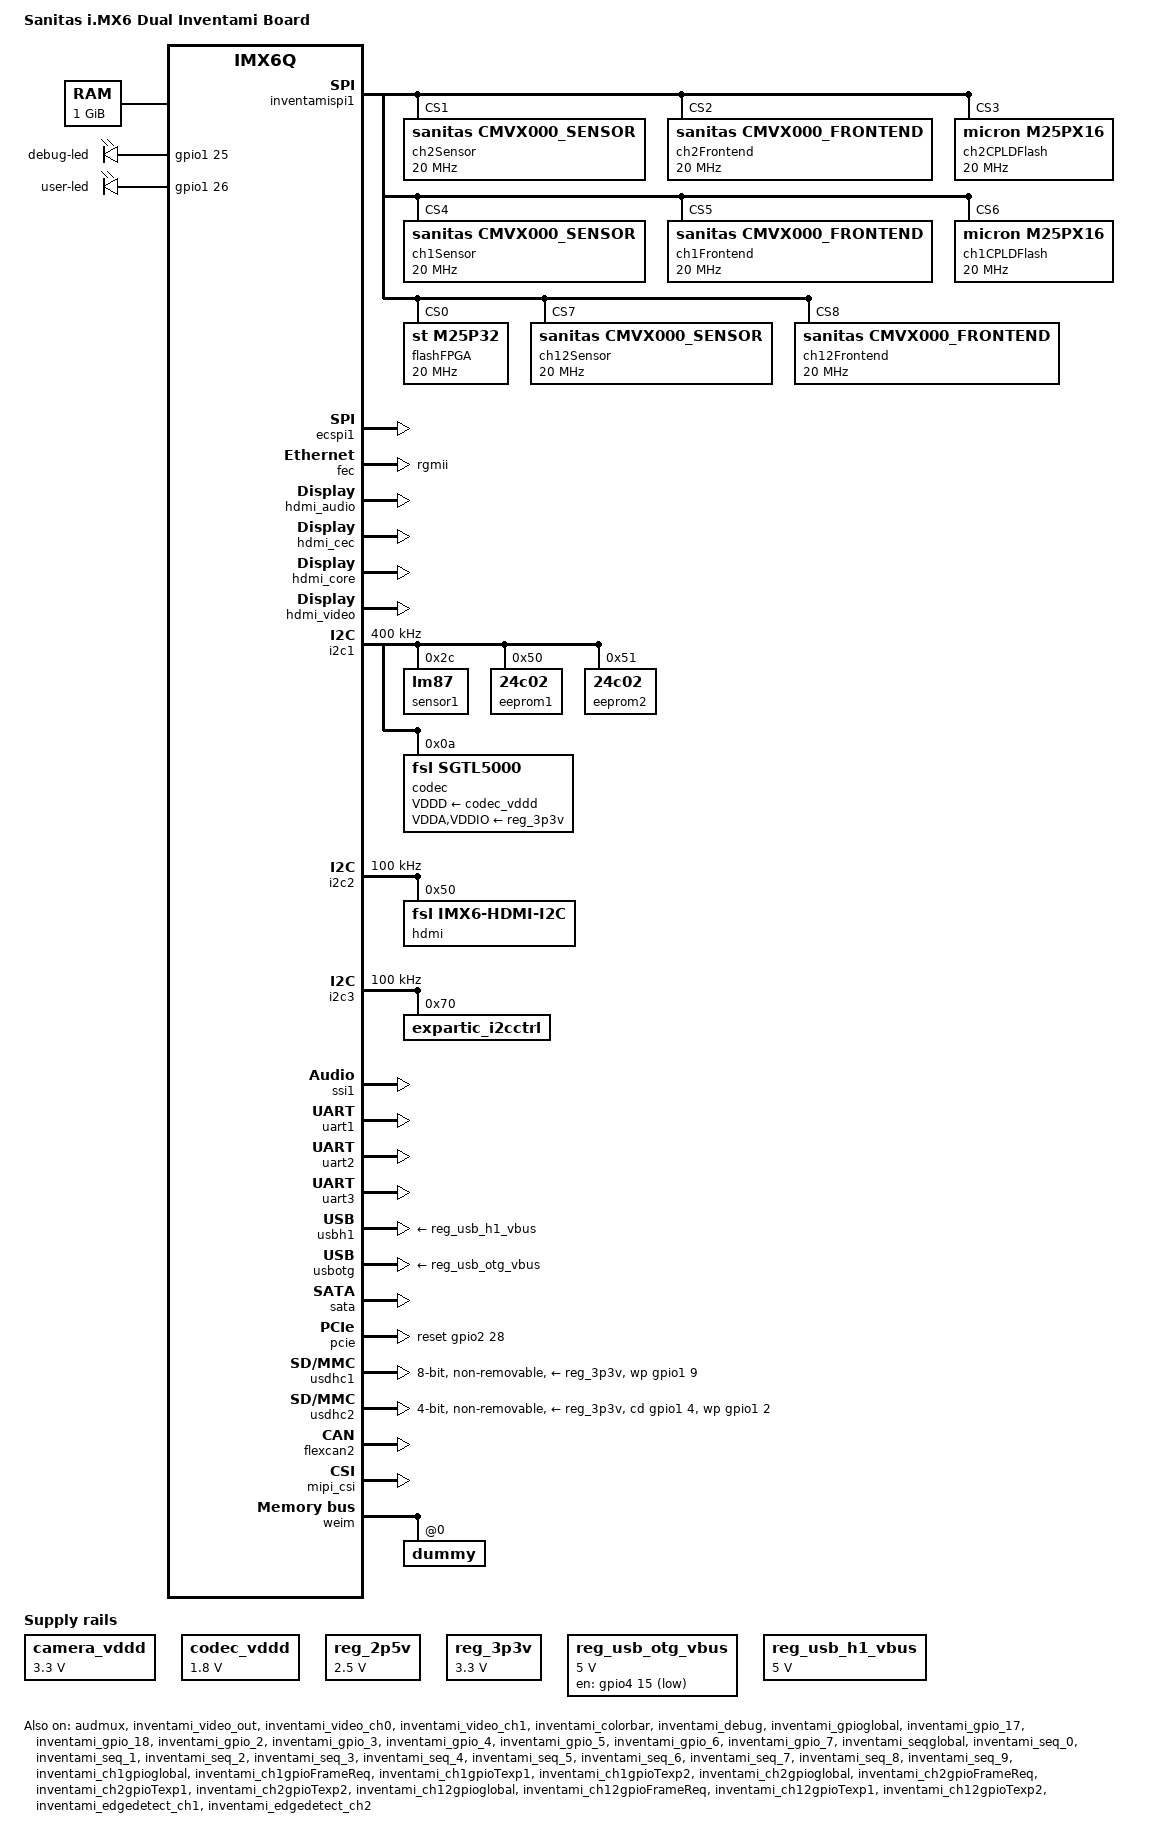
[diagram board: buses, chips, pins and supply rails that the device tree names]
/*
 * Copyright 2014-2015 Sanitas EG
 *
 * The code contained herein is licensed under the GNU General Public
 * License. You may obtain a copy of the GNU General Public License
 * Version 2 or later at the following locations:
 *
 * http://www.opensource.org/licenses/gpl-license.html
 * http://www.gnu.org/copyleft/gpl.html
 */

/* NAND_ALE = SD1_RST */

/* Missing configurations:
 - PMIC
 - PWM
*/

/dts-v1/;
#include "imx6d.dtsi"
#include "imx6qdl-inventami.dtsi"

/ {
	model = "Sanitas i.MX6 Dual Inventami Board";
	compatible = "sanitas,imx6d-inventami-emmc", "fsl,imx6q";

	aliases {
		mxcfb0 = &mxcfb1;
		mxcfb1 = &mxcfb2;
	};

	memory {
		reg = <0x10000000 0x40000000>;
	};

	regulators {
		compatible = "simple-bus";

		camera_vddd: camera_3p3v	{
			compatible = "regulator-fixed";
			regulator-name = "camera_3P3V";
			regulator-min-microvolt = <3300000>;
			regulator-max-microvolt = <3300000>;
			regulator-always-on;
		};

		codec_vddd: codec_1p8v {
			compatible = "regulator-fixed";
			regulator-name = "codec_1P8V";
			regulator-min-microvolt = <1800000>;
			regulator-max-microvolt = <1800000>;
			regulator-always-on;
		};

		reg_2p5v: 2p5v {
			compatible = "regulator-fixed";
			regulator-name = "2P5V";
			regulator-min-microvolt = <2500000>;
			regulator-max-microvolt = <2500000>;
			regulator-always-on;
		};

		reg_3p3v: 3p3v {
			compatible = "regulator-fixed";
			regulator-name = "3P3V";
			regulator-min-microvolt = <3300000>;
			regulator-max-microvolt = <3300000>;
			regulator-always-on;
		};

		reg_usb_otg_vbus: usb_otg_vbus {
			compatible = "regulator-fixed";
			regulator-name = "usb_otg_vbus";
			regulator-min-microvolt = <5000000>;
			regulator-max-microvolt = <5000000>;
			gpio = <&gpio4 15 0>; /* KEY_ROW4 */
			enable-active-low; /* LM3526 !EN*/
		};
		
		reg_usb_h1_vbus: usb_h1_vbus {
			compatible = "regulator-fixed";
			regulator-name = "usb_h1_vbus";
			regulator-min-microvolt = <5000000>;
			regulator-max-microvolt = <5000000>;
		};
	};

	leds {
		compatible = "gpio-leds";

		debug-led {
			gpios = <&gpio1 25 0>;
			linux,default-trigger = "heartbeat";
		};

		user-led {
			gpios = <&gpio1 26 0>;
			linux,default-trigger = "oneshot";
		};
	};

	sound {
		compatible = "fsl,imx6d-inventami-sgtl5000", "fsl,imx-audio-sgtl5000";
		model = "imx6d-inventami-sgtl5000";
		ssi-controller = <&ssi1>;
		audio-codec = <&codec>;
		audio-routing =
			"MIC_IN", "Mic Jack",
			"Mic Jack", "Mic Bias",
			"Headphone Jack", "HP_OUT",
			"LINE_IN", "Line In Jack",
			"Line Out Jack", "LINE_OUT"; /* Figure out if it's really needed... */
		mux-int-port = <1>;
		mux-ext-port = <6>;
	};
		
	sound-hdmi {
		compatible = "fsl,imx6q-audio-hdmi", "fsl,imx-audio-hdmi";
		model = "imx-audio-hdmi";
		hdmi-controller = <&hdmi_audio>;
	};
	
/*	mxcfb1: fb@0 {
		compatible = "fsl,mxc_sdc_fb";
		disp_dev = "hdmi";
		interface_pix_fmt = "RGB24";
		mode_str ="1920x1080M@60";
		default_bpp = <24>;
		int_clk = <0>;
		late_init = <0>;
		status = "okay";
	};
*/
	mxcfb1: fb@0 {
		compatible = "fsl,mxc_sdc_fb";
		disp_dev = "hdmi";
		interface_pix_fmt = "RGB24";
		mode_str ="1280X720M@60";
		default_bpp = <24>;
		int_clk = <0>;
		late_init = <0>;
		status = "okay";
	};

	mxcfb2: fb@1 {
		compatible = "fsl,mxc_sdc_fb";
		disp_dev = "ldb";
		interface_pix_fmt = "RGB666";
		mode_str ="LDB-XGA";
		default_bpp = <16>;
		int_clk = <0>;
		late_init = <0>;
		status = "disabled";
	};

	v4l2_cap_0 {
		compatible = "fsl,imx6q-v4l2-capture";
		ipu_id = <0>;
		csi_id = <0>;
		mclk_source = <0>;
		status = "okay";
	};

    sanitas_mxc_v4l2_csi_camera0: sanitas_mxc_v4l2_csi@0 {
        compatible = "sanitas,sanitas_mxc_v4l2_csi";
        csi_id = <0>;
    };

	v4l2_cap_1 {
		compatible = "fsl,imx6q-v4l2-capture";
		ipu_id = <0>;
		csi_id = <1>;
		mclk_source = <0>;
		status = "okay";
	};

    sanitas_mxc_v4l2_mipi_camera0: sanitas_mxc_v4l2_mipi@1 {
        compatible = "sanitas,sanitas_mxc_v4l2_mipi";
        csi_id = <1>;
    };

    inventami_video_out: inventami_video_out@0x08000400  {
        compatible = "sanitas,inventami-video-out";
        reg = <0x08000400 0x100>;
        status = "okay";
    };

    inventami_video_ch0: inventami_video_ch@0x08000500  {
        compatible = "sanitas,inventami-video-ch";
        reg = <0x08000500 0x200>;
        status = "okay";
    };
    
    inventami_video_ch1: inventami_video_ch@0x08000700  {
        compatible = "sanitas,inventami-video-ch";
        reg = <0x08000700 0x200>;
        status = "okay";
    };

    inventami_colorbar: inventami_colorbar@0x08000900 {
        compatible = "sanitas,inventami-colorbar";
        reg = <0x08000900 0x100>;
        status = "okay";
    };
    
    inventami_debug: inventami_debug@0x08000200 {
    compatible = "sanitas,inventami-debug";
    reg = <0x08000200 0x100>;
    status = "okay";     
    };
    
    inventami_gpioglobal: inventami_gpioglobal@0x09200000 {
    compatible = "sanitas,inventami-gpioglobal";
    reg = <0x09200000 0x10>;
    status = "okay";     
    };

    inventami_gpio_17: inventami_gpio@0x09200010 {
    compatible = "sanitas,inventami-gpio";
    reg = <0x09200010 0x10>;
    status = "okay";     
    };   
    
    inventami_gpio_18: inventami_gpio@0x09200020 {
    compatible = "sanitas,inventami-gpio";
    reg = <0x09200020 0x10>;
    status = "okay";     
    }; 
    
    inventami_gpio_2: inventami_gpio@0x09200030 {
    compatible = "sanitas,inventami-gpio";
    reg = <0x09200030 0x10>;
    status = "okay";     
    };   
    
    inventami_gpio_3: inventami_gpio@0x09200040 {
    compatible = "sanitas,inventami-gpio";
    reg = <0x09200040 0x10>;
    status = "okay";     
    }; 
    
    inventami_gpio_4: inventami_gpio@0x09200050 {
    compatible = "sanitas,inventami-gpio";
    reg = <0x09200050 0x10>;
    status = "okay";     
    };   
    
    inventami_gpio_5: inventami_gpio@0x09200060 {
    compatible = "sanitas,inventami-gpio";
    reg = <0x09200060 0x10>;
    status = "okay";     
    }; 
    
    inventami_gpio_6: inventami_gpio@0x09200070 {
    compatible = "sanitas,inventami-gpio";
    reg = <0x09200070 0x10>;
    status = "okay";     
    };   
    
    inventami_gpio_7: inventami_gpio@0x09200080 {
    compatible = "sanitas,inventami-gpio";
    reg = <0x09200080 0x10>;
    status = "okay";     
    };


/*SEQUENCER*/
    inventami_seqglobal: inventami_seqglobal@0x09500000 {
    compatible = "sanitas,inventami-seqglobal";
    reg = <0x09500000 0x10>;
    status = "okay";     
    };

    inventami_seq_0: inventami_seq@0x09500020 {
    compatible = "sanitas,inventami-seq";
    reg = <0x09500020 0x20>;
    status = "okay";     
    };
    
    inventami_seq_1: inventami_seq@0x09500040 {
    compatible = "sanitas,inventami-seq";
    reg = <0x09500040 0x20>;
    status = "okay";     
    };
    
    inventami_seq_2: inventami_seq@0x09500060 {
    compatible = "sanitas,inventami-seq";
    reg = <0x09500060 0x20>;
    status = "okay";     
    };
        
    inventami_seq_3: inventami_seq@0x09500080 {
    compatible = "sanitas,inventami-seq";
    reg = <0x09500080 0x20>;
    status = "okay";     
    };

	inventami_seq_4: inventami_seq@0x095000A0 {
    compatible = "sanitas,inventami-seq";
    reg = <0x095000A0 0x20>;
    status = "okay";     
    };
    
    inventami_seq_5: inventami_seq@0x095000C0 {
    compatible = "sanitas,inventami-seq";
    reg = <0x095000C0 0x20>;
    status = "okay";     
    };

	inventami_seq_6: inventami_seq@0x095000E0 {
    compatible = "sanitas,inventami-seq";
    reg = <0x095000E0 0x20>;
    status = "okay";     
    };

	inventami_seq_7: inventami_seq@0x09500100 {
    compatible = "sanitas,inventami-seq";
    reg = <0x09500100 0x20>;
    status = "okay";     
    };

	inventami_seq_8: inventami_seq@0x09500120 {
    compatible = "sanitas,inventami-seq";
    reg = <0x09500120 0x20>;
    status = "okay";     
    };
    
    
    inventami_seq_9: inventami_seq@0x09500140 {
    compatible = "sanitas,inventami-seq";
    reg = <0x09500140 0x20>;
    status = "okay";     
    };

    /************ SENSOR GPIO X SEQUENCER *********************/
    /*CH1*/
    inventami_ch1gpioglobal: inventami_gpioglobal@0x09411000 {
    compatible = "sanitas,inventami-gpioglobal";
    reg = <0x09411000 0x10>;
    status = "okay";     
    };

    inventami_ch1gpioFrameReq: inventami_gpio@0x09411010 {
    compatible = "sanitas,inventami-gpio";
    reg = <0x09411010 0x10>;
    status = "okay";     
    };   
    
    inventami_ch1gpioTexp1: inventami_gpio@0x09411020 {
    compatible = "sanitas,inventami-gpio";
    reg = <0x09411020 0x10>;
    status = "okay";     
    }; 
    
    inventami_ch1gpioTexp2: inventami_gpio@0x09411030 {
    compatible = "sanitas,inventami-gpio";
    reg = <0x09411030 0x10>;
    status = "okay";     
    };   
    
    /*CH2*/
    inventami_ch2gpioglobal: inventami_gpioglobal@0x09421000 {
    compatible = "sanitas,inventami-gpioglobal";
    reg = <0x09421000 0x10>;
    status = "okay";     
    };

    inventami_ch2gpioFrameReq: inventami_gpio@0x09421010 {
    compatible = "sanitas,inventami-gpio";
    reg = <0x09421010 0x10>;
    status = "okay";     
    };   
    
    inventami_ch2gpioTexp1: inventami_gpio@0x09421020 {
    compatible = "sanitas,inventami-gpio";
    reg = <0x09421020 0x10>;
    status = "okay";     
    }; 
    
    inventami_ch2gpioTexp2: inventami_gpio@0x09421030 {
    compatible = "sanitas,inventami-gpio";
    reg = <0x09421030 0x10>;
    status = "okay";     
    };   
    
    /*CH3*/
    inventami_ch12gpioglobal: inventami_gpioglobal@0x09431000 {
    compatible = "sanitas,inventami-gpioglobal";
    reg = <0x09431000 0x10>;
    status = "okay";     
    };

    inventami_ch12gpioFrameReq: inventami_gpio@0x09431010 {
    compatible = "sanitas,inventami-gpio";
    reg = <0x09431010 0x10>;
    status = "okay";     
    };   
    
    inventami_ch12gpioTexp1: inventami_gpio@0x09431020 {
    compatible = "sanitas,inventami-gpio";
    reg = <0x09431020 0x10>;
    status = "okay";     
    }; 
    
    inventami_ch12gpioTexp2: inventami_gpio@0x09431030 {
    compatible = "sanitas,inventami-gpio";
    reg = <0x09431030 0x10>;
    status = "okay";     
    };  
    
    
/************* EDGEDETECTION*********/
	inventami_edgedetect_ch1: inventami_edgedetect@0x08000C00 {
    compatible = "sanitas,inventami-edgedetect";
    reg = <0x08000C00 0x20>;
    status = "okay";     
    };

	inventami_edgedetect_ch2: inventami_edgedetect@0x08000D00 {
    compatible = "sanitas,inventami-edgedetect";
    reg = <0x08000C00 0x20>;
    status = "okay";     
    };
    

/*
    inventami_csi_camera1: inventami_csi@1 {
        compatible = "sanitas,inventami_csi";
        csi_id = <1>;
    };

	v4l2_cap_1 {
		compatible = "fsl,imx6q-v4l2-capture";
		ipu_id = <0>;
		csi_id = <1>;
		mclk_source = <0>;
        status = "okay";
	};
	
    v4l2_cap_2 {
        compatible = "fsl,imx6q-v4l2-capture";
        ipu_id = <1>;
        csi_id = <0>;
        mclk_source = <0>;
        status = "okay";
    };

    v4l2_cap_3 {
        compatible = "fsl,imx6q-v4l2-capture";
        ipu_id = <1>;
        csi_id = <1>;
        mclk_source = <0>;
        status = "okay";
    };
*/
   	v4l2_out {
		compatible = "fsl,mxc_v4l2_output";
		status = "okay";
	};
	
	inventamispi1: inventamispi@08000300 {
		#address-cells = <1>;
		#size-cells = <0>;
		compatible = "sanitas,inventami-spi";
		reg = <0x08000300 0x100>;
		bufferbase = <0x09000000>;
		status = "okay";
	};
	
	inventamifpga1: inventamifpga@08000000 {
	   compatible = "sanitas,inventami-fpga";
	   reg = <0x08000000 0x10>;
	   status = "okay";
	};
};

&mxcfb1 { /* ##OK */
	status = "okay";
};

&audmux { /* ##OK */
	status = "okay";
	pinctrl-names = "default";
	pinctrl-0 = <&pinctrl_audmux_6>;
};

&ecspi1 { /* ##OK */
	fsl,spi-num-chipselects = <1>;
	cs-gpios = <&gpio4 9 0>; /* SS0 (Flash): KEY_ROW1 */ /* Also set in HOG */
	pinctrl-names = "default";
	pinctrl-0 = <&pinctrl_ecspi1_3>;
	status = "okay";

	flashCPU: m25p80@0 {
		#address-cells = <1>;
		#size-cells = <1>;
		compatible = "st,m25p32";
		spi-max-frequency = <20000000>;
		reg = <0>;
		status = "disabled";
	};
};

&ecspi3 { /* There are no devices connected, so we disable it */ /* ##OK */ 
	fsl,spi-num-chipselects = <4>;
	cs-gpios = <&gpio4 24 0>; /* SS0 */ /* Also set in HOG */
	cs-gpios = <&gpio4 25 0>; /* SS1 */ /* Also set in HOG */
	cs-gpios = <&gpio4 26 0>; /* SS2 */ /* Also set in HOG */
	cs-gpios = <&gpio4 27 0>; /* SS3 */ /* Also set in HOG */
	pinctrl-names = "default";
	pinctrl-0 = <&pinctrl_ecspi3_2>;
	status = "disabled";
};

&fec { /* ##OK */
	pinctrl-names = "default";
	pinctrl-0 = <&pinctrl_enet_4>;
	phy-mode = "rgmii";
	status = "okay";
};

&hdmi_audio { /* ##OK */
	status = "okay";
};

&hdmi_cec { /* ##OK */
	pinctrl-names = "default";
	pinctrl-0 = <&pinctrl_hdmi_cec_1>;
	status = "ok"; /* For now... As I don't know exactly what does it do... */
};

&ldb { /* ##OK */
	ipu_id = <1>;
	disp_id = <1>;
	ext_ref = <1>;
	mode = "sep1";
	sec_ipu_id = <1>;
	sec_disp_id = <0>;
	status = "disabled";
};

&hdmi_core { /* ##OK */
	ipu_id = <0>;
	disp_id = <0>;
	status = "okay";
};

&hdmi_video { /* ##OK */
	fsl,phy_reg_vlev = <0x0294>;    /* Magic values... */
	fsl,phy_reg_cksymtx = <0x800d>; /* Magic values... */
	status = "okay";
};

&i2c1 { /* ##OK */
	status = "okay";
	clock-frequency = <400000>;
	pinctrl-names = "default";
	pinctrl-0 = <&pinctrl_i2c1_1>;

	sensor1: lm87@2c {
		compatible = "lm87";
		reg = <0x2c>;
	};

    eeprom1: 24c02@50 {
        compatible = "24c02";
        reg = <0x50>;
        pagesize = <128>;
    };

    eeprom2: 24c02@51 {
        compatible = "24c02";
        reg = <0x51>;
        pagesize = <128>;
    };

	codec: sgtl5000@0a {
		compatible = "fsl,sgtl5000";
		reg = <0x0a>;
		clocks = <&clks 201>;
		VDDD-supply = <&codec_vddd>;
		VDDA-supply = <&reg_3p3v>;
		VDDIO-supply = <&reg_3p3v>;
	};
};

&i2c2 { /* ##OK */
	clock-frequency = <100000>;
	pinctrl-names = "default";
	pinctrl-0 = <&pinctrl_i2c2_1>;
	status = "okay";

	hdmi: edid@50 {
		compatible = "fsl,imx6-hdmi-i2c";
		reg = <0x50>;
	};
};

&i2c3 {  /* ##OK */
	status = "ok";
	clock-frequency = <100000>;
	pinctrl-names = "default";
	pinctrl-0 = <&pinctrl_i2c3_1>;
	
	expartic_i2cctrl: expartic_i2cctrl@70{
		compatible = "expartic_i2cctrl";
		reg = <0x70>;
	};

	
};

&iomuxc {
	pinctrl-names = "default";
	pinctrl-0 = <&pinctrl_hog>;

	hog {
		pinctrl_hog: hoggrp {
			fsl,pins = <
				MX6QDL_PAD_GPIO_0__CCM_CLKO1    		0x130b0 	/* AUDIO_CLK: ST, 100k PD, PUSH-PULL, PULL&KEEP, 40ohm, SLOW */
			    MX6QDL_PAD_KEY_COL4__USB_OTG_OC 		0x1b0b0 	/* OTG_OC: ST, 100k PU, PUSH-PULL, PULL&KEEP, 40ohm, SLOW */
			    /*MX6QDL_PAD_KEY_ROW1__ECSPI1_SS0 		0x80000000 */ /* SPI Flash CS */ /* Note: Is this redundant? */
				MX6QDL_PAD_DISP0_DAT3__ECSPI3_SS0		0x80000000	/* SPI Flash CS */ /* Note: Is this redundant? */
				MX6QDL_PAD_DISP0_DAT4__ECSPI3_SS1		0x80000000	/* SPI Flash CS */ /* Note: Is this redundant? */
				MX6QDL_PAD_DISP0_DAT5__ECSPI3_SS2		0x80000000	/* SPI Flash CS */ /* Note: Is this redundant? */
				MX6QDL_PAD_DISP0_DAT6__ECSPI3_SS3		0x80000000	/* SPI Flash CS */ /* Note: Is this redundant? */
				
				MX6QDL_PAD_ENET_MDIO__GPIO1_IO22		0x80000000 /* */
				/* MX6QDL_PAD_ENET_REF_CLK__GPIO1_IO23 	0x80000000 */ /* */
				MX6QDL_PAD_ENET_CRS_DV__GPIO1_IO25		0x110b0    /* LED 1 */
				MX6QDL_PAD_ENET_RXD1__GPIO1_IO26		0x110b0    /* LED 2 */
				MX6QDL_PAD_ENET_RXD0__GPIO1_IO27		0x80000000 /* */
				MX6QDL_PAD_ENET_TX_EN__GPIO1_IO28		0x80000000 /* */

				MX6QDL_PAD_SD4_DAT1__GPIO2_IO09			0x80000000 /* */
				MX6QDL_PAD_SD4_DAT3__GPIO2_IO11			0x80000000 /* */
				MX6QDL_PAD_SD4_DAT4__GPIO2_IO12			0x80000000 /* */
				MX6QDL_PAD_SD4_DAT7__GPIO2_IO15			0x80000000 /* */
				/* MX6QDL_PAD_EIM_EB0__GPIO2_IO28		0x80000000  */ /* PCIe_RST */
				MX6QDL_PAD_EIM_EB1__GPIO2_IO29			0x80000000 /* */
				MX6QDL_PAD_EIM_EB3__GPIO2_IO31			0x80000000 /* */ 

				MX6QDL_PAD_EIM_D22__GPIO3_IO22			0x80000000 /* */
				MX6QDL_PAD_EIM_D23__GPIO3_IO23			0x80000000 /* */
				MX6QDL_PAD_EIM_D26__GPIO3_IO26			0x80000000 /* */
				MX6QDL_PAD_EIM_D27__GPIO3_IO27			0x80000000 /* */

				MX6QDL_PAD_GPIO_19__GPIO4_IO05			0x80000000 /* SPIWP */
				MX6QDL_PAD_DI0_DISP_CLK__GPIO4_IO16		0x80000000 /* AUDIO_JACK */

				MX6QDL_PAD_DISP0_DAT11__GPIO5_IO05		0x80000000 /* */
				MX6QDL_PAD_DISP0_DAT12__GPIO5_IO06		0x80000000 /* */
				MX6QDL_PAD_DISP0_DAT14__GPIO5_IO08		0x80000000 /* */
				MX6QDL_PAD_DISP0_DAT15__GPIO5_IO09		0x80000000 /* */
				MX6QDL_PAD_DISP0_DAT16__GPIO5_IO10		0x80000000 /* */
				MX6QDL_PAD_DISP0_DAT17__GPIO5_IO11		0x80000000 /* */
				MX6QDL_PAD_DISP0_DAT18__GPIO5_IO12		0x80000000 /* */
				MX6QDL_PAD_DISP0_DAT19__GPIO5_IO13		0x80000000 /* */
				MX6QDL_PAD_DISP0_DAT23__GPIO5_IO17		0x80000000 /* */

				MX6QDL_PAD_NANDF_ALE__GPIO6_IO08		0x80000000 /* SD1_RST */
				MX6QDL_PAD_NANDF_WP_B__GPIO6_IO09		0x80000000 /* */
				MX6QDL_PAD_NANDF_CS1__GPIO6_IO14		0x80000000 /* */
				MX6QDL_PAD_NANDF_CS2__GPIO6_IO15		0x80000000 /* */
				MX6QDL_PAD_NANDF_CS3__GPIO6_IO16		0x80000000 /* */

				MX6QDL_PAD_SD3_DAT5__GPIO7_IO00			0x80000000 /* */
				MX6QDL_PAD_SD3_DAT4__GPIO7_IO01			0x80000000 /* */
				MX6QDL_PAD_SD3_CLK__GPIO7_IO03			0x80000000 /* */
				MX6QDL_PAD_SD3_DAT2__GPIO7_IO06			0x80000000 /* */
				MX6QDL_PAD_SD3_DAT3__GPIO7_IO07			0x80000000 /* */
				MX6QDL_PAD_SD3_RST__GPIO7_IO08			0x80000000 /* */
				MX6QDL_PAD_GPIO_17__GPIO7_IO12			0x80000000 /* LVDS_TCH */
				
				MX6QDL_PAD_CSI0_DAT4__IPU1_CSI0_DATA04   0x80000000
                MX6QDL_PAD_CSI0_DAT5__IPU1_CSI0_DATA05   0x80000000
                MX6QDL_PAD_CSI0_DAT6__IPU1_CSI0_DATA06   0x80000000
                MX6QDL_PAD_CSI0_DAT7__IPU1_CSI0_DATA07   0x80000000
                MX6QDL_PAD_CSI0_DAT8__IPU1_CSI0_DATA08   0x80000000
                MX6QDL_PAD_CSI0_DAT9__IPU1_CSI0_DATA09   0x80000000
                MX6QDL_PAD_CSI0_DAT10__IPU1_CSI0_DATA10  0x80000000
                MX6QDL_PAD_CSI0_DAT11__IPU1_CSI0_DATA11  0x80000000
                MX6QDL_PAD_CSI0_DAT12__IPU1_CSI0_DATA12  0x80000000
                MX6QDL_PAD_CSI0_DAT13__IPU1_CSI0_DATA13  0x80000000
                MX6QDL_PAD_CSI0_DAT14__IPU1_CSI0_DATA14  0x80000000
                MX6QDL_PAD_CSI0_DAT15__IPU1_CSI0_DATA15  0x80000000
                MX6QDL_PAD_CSI0_DAT16__IPU1_CSI0_DATA16  0x80000000
                MX6QDL_PAD_CSI0_DAT17__IPU1_CSI0_DATA17  0x80000000
                MX6QDL_PAD_CSI0_DAT18__IPU1_CSI0_DATA18  0x80000000
                MX6QDL_PAD_CSI0_DAT19__IPU1_CSI0_DATA19  0x80000000
                MX6QDL_PAD_CSI0_PIXCLK__IPU1_CSI0_PIXCLK 0x80000000
                MX6QDL_PAD_CSI0_MCLK__IPU1_CSI0_HSYNC    0x80000000
                MX6QDL_PAD_CSI0_VSYNC__IPU1_CSI0_VSYNC   0x80000000
				>;
		};
	};
};

&ssi1 { /* ##OK */
	fsl,mode = "i2s-slave";
	status = "okay";
};

&uart1 { /* ##OK */
	status = "okay";
	pinctrl-names = "default";
	pinctrl-0 = <&pinctrl_uart1_2>;
};

&uart2 { /* ##OK */
	status = "okay";
	pinctrl-names = "default";
	pinctrl-0 = <&pinctrl_uart2_3>;
};

&uart3 { /* ##OK */
	status = "okay";
	pinctrl-names = "default";
	pinctrl-0 = <&pinctrl_uart3_2>;
};

/*
	&uart4 { /* ##OK */
/*		status = "okay";
		pinctrl-names = "default";
		pinctrl-0 = <&pinctrl_uart4_1>;
	};
*/
&usbh1 { /* ##OK */
	status = "okay";
	vbus-supply = <&reg_usb_h1_vbus>;
};

&usbotg { /* ##OK */
	vbus-supply = <&reg_usb_otg_vbus>;
	pinctrl-names = "default";
	pinctrl-0 = <&pinctrl_usbotg_2>;
	/* disable-over-current; */ /* The Pinmux has been configured... Why must we keep it disabled? */
	status = "okay";
};

&sata { /* ##OK */
	status = "okay";
};

&pcie { /* ##OK */
	reset-gpio = <&gpio2 28 0>;
    status = "okay";
};

&usdhc1 { /* eMMC */ /* ##OK */
	pinctrl-names = "default";
	pinctrl-0 = <&pinctrl_usdhc1_2>;
	non-removable;
	/* cd-gpios = <&gpio1 1 0>; */
	/* cd-inverted; */
	wp-gpios = <&gpio1 9 0>;
	vmmc-supply = <&reg_3p3v>;
	bus-width = <8>;
	status = "okay";
};

&usdhc2 { /* uSD PCB Edge */ /* ##OK */
	pinctrl-names = "default";
	pinctrl-0 = <&pinctrl_usdhc2_2>;
	non-removable;
	cd-gpios = <&gpio1 4 GPIO_ACTIVE_LOW>;
	fsl,cd-controller;
	cd-inverted;
	wp-gpios = <&gpio1 2 GPIO_ACTIVE_HIGH>;
	vmmc-supply = <&reg_3p3v>;
	bus-width = <4>;
	status = "okay";
};

/*&flexcan1 { /* ##OK */
/*	pinctrl-names = "default";
	pinctrl-0 = <&pinctrl_flexcan1_3>;
	status = "okay"; 
};
*/

&flexcan2 { /* ##OK */
	pinctrl-names = "default";
	pinctrl-0 = <&pinctrl_flexcan2_2>;
	status = "okay";
};

&gpmi { /* DO NOT ENABLE */ /* ##OK */
	status = "disable";
};

&mipi_csi {
	status = "okay";
	ipu_id = <0>;
	csi_id = <1>;
	v_channel = <1>;
	lanes = <4>;
	pll = <0x0000002c>; /* 2C 46 */
	isr = <0x00000001>;
    /* clocks = <&clks IMX6QDL_CLK_EMI_SEL>, <&clks IMX6QDL_CLK_EMI_SEL>, <&clks IMX6QDL_CLK_VIDEO_27M>; */
    /* clock-names = "dphy_clk", "pixel_clk", "cfg_clk"; */
};

&weim {
	pinctrl-names = "default";
	pinctrl-0 = <&pinctrl_weim_inventami_1 &pinctrl_weim_cs0_1 &pinctrl_weim_cs1_1>;
	#address-cells = <2>;
	#size-cells = <1>;
	ranges = <0 0 0x08000000 0x04000000>;
/*	ranges = <1 0 0x0C000000 0x04000000>; */

	status = "okay";
	
/*	testingbase = <0x08000800>; */
	
	dummy@0,0 {
		reg = <0 0 0x04000000>;
		fsl,weim-cs-timing = <0x00610089 0x00001002 0x1c022000 0x00000000 0x1c092480 0x00000000>;
	};
};


&inventamispi1{
	sanitas,spi-num-chipselects = <9>;
	status = "okay";

	ch2Sensor: cmv4000sensor@1 {
		#address-cells = <1>;
		#size-cells = <1>;
		compatible = "sanitas,cmvx000_sensor";
		spi-max-frequency = <20000000>;
		sanitas,slaveid = <0x00000202>;
		reg = <1>;
		status = "okay";
	};

    ch2Frontend: cmv4000frontend@2 {
        #address-cells = <1>;
        #size-cells = <1>;
        compatible = "sanitas,cmvx000_frontend";
        spi-max-frequency = <20000000>;
        sanitas,slaveid = <0x00008002>;
        reg = <2>;
        status = "okay";
    };

    ch2CPLDFlash: m25p80@3 {
        #address-cells = <1>;
        #size-cells = <1>;
        compatible = "micron,m25px16";
        spi-max-frequency = <20000000>;
        reg = <3>;
        sanitas,slaveid = <0x00000102>; 
    };
/*
    ch1Sensor: mt9p031sensor@4 {
        #address-cells = <1>;
        #size-cells = <1>;
        compatible = "sanitas,mt9p031_sensor";
        spi-max-frequency = <20000000>;
        sanitas,slaveid = <0x00008001>;
        reg = <4>;
        status = "okay";
    };

    ch1Frontend: mt9p031frontend@5 {
        #address-cells = <1>;
        #size-cells = <1>;
        compatible = "sanitas,mt9p031_frontend";
        spi-max-frequency = <20000000>;
        sanitas,slaveid = <0x00008001>;
        reg = <5>;
        status = "okay";
    };
*/
	ch1Sensor: cmv4000sensor@4 {
		#address-cells = <1>;
		#size-cells = <1>;
		compatible = "sanitas,cmvx000_sensor";
		spi-max-frequency = <20000000>;
        sanitas,slaveid = <0x00000201>;
		reg = <4>;
		status = "okay";
	};

    ch1Frontend: cmv4000frontend@5 {
        #address-cells = <1>;
        #size-cells = <1>;
        compatible = "sanitas,cmvx000_frontend";
        spi-max-frequency = <20000000>;
        sanitas,slaveid = <0x00008001>;
        reg = <5>;
        status = "okay";
    };

    ch1CPLDFlash: m25p80@6 {
        #address-cells = <1>;
        #size-cells = <1>;
        compatible = "micron,m25px16";
        spi-max-frequency = <20000000>;
        reg = <6>;
        sanitas,slaveid = <0x00000101>; 
    };

	flashFPGA: m25p80@0 {
		#address-cells = <1>;
		#size-cells = <1>;
		compatible = "st,m25p32";
		spi-max-frequency = <20000000>;
		reg = <0>;
		sanitas,slaveid = <0x00000004>; 
	};
	
	ch12Sensor: cmv4000sensor@7 {
		#address-cells = <1>;
		#size-cells = <1>;
		compatible = "sanitas,cmvx000_sensor";
		spi-max-frequency = <20000000>;
        sanitas,slaveid = <0x00000203>;
		reg = <7>;
		status = "okay";
	};

	ch12Frontend: cmv4000frontend@8 {
        #address-cells = <1>;
        #size-cells = <1>;
        compatible = "sanitas,cmvx000_frontend";
        spi-max-frequency = <20000000>;
        sanitas,slaveid = <0x00008003>;
        reg = <8>;
        status = "okay";
    };
    
    
};
